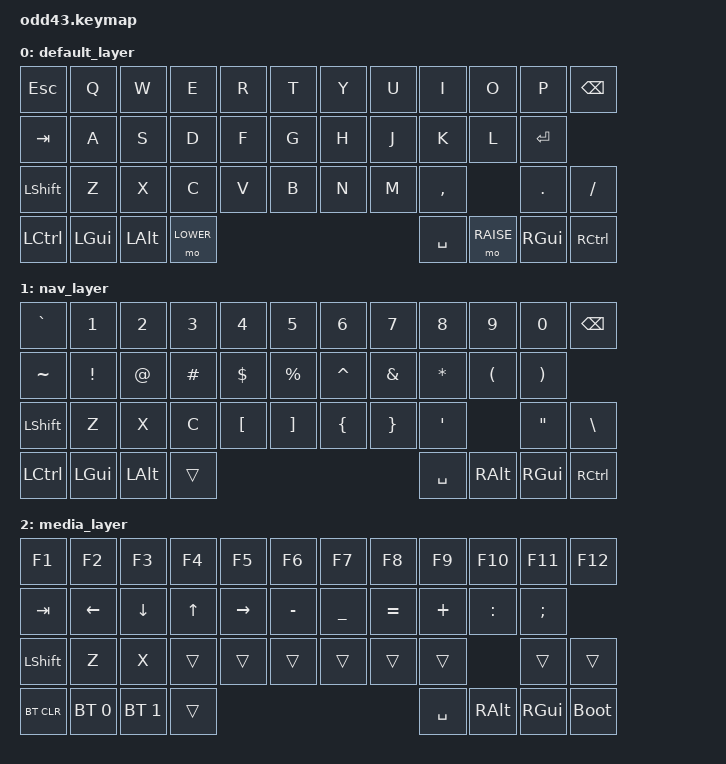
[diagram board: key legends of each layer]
/*
 * Copyright (c) 2020 The ZMK Contributors
 *
 * SPDX-License-Identifier: MIT
 */

#include <behaviors.dtsi>
#include <dt-bindings/zmk/keys.h>
#include <dt-bindings/zmk/bt.h>
#include <dt-bindings/zmk/rgb.h>

#define DEFAULT 0
#define LOWER 1
#define RAISE 2


/ {
    keymap 
	{
    compatible = "zmk,keymap";

    default_layer {
            bindings = <
    &kp ESC &kp Q &kp W &kp E &kp R &kp T &kp Y &kp U &kp I &kp O &kp P &kp BSPC
    &kp TAB &kp A &kp S &kp D &kp F &kp G &kp H &kp J &kp K &kp L &kp RET
    &kp LSHFT &kp Z &kp X &kp C &kp V &kp B &kp N &kp M &kp COMMA &kp DOT &kp FSLH
    &kp LCTL &kp LGUI &kp LALT &mo LOWER &kp SPACE &mo RAISE &kp RGUI &kp RCTL
            >;
        };

    nav_layer {
            bindings = <
    &kp GRAVE &kp N1 &kp N2 &kp N3 &kp N4 &kp N5 &kp N6 &kp N7 &kp N8 &kp N9 &kp N0 &kp BSPC
    &kp TILDE &kp EXCL &kp AT &kp HASH &kp DLLR &kp PRCNT &kp CARET &kp AMPS &kp STAR &kp LPAR &kp RPAR
    &kp LSHFT &kp Z &kp X &kp C  &kp LBKT &kp RBKT &kp LBRC &kp RBRC &kp SQT &kp DQT &kp BSLH
    &kp LCTL &kp LGUI &kp LALT &trans &kp SPACE &kp RALT &kp RGUI &kp RCTL
            >;
        };

        media_layer {
            bindings = <
    &kp F1 &kp F2 &kp F3 &kp F4 &kp F5 &kp F6 &kp F7 &kp F8 &kp F9 &kp F10 &kp F11 &kp F12
    &kp TAB &kp LEFT &kp DOWN &kp UP &kp RIGHT &kp MINUS &kp UNDER &kp EQUAL &kp PLUS &kp COLON &kp SEMI
    &kp LSHFT &kp Z &kp X &trans  &trans &trans &trans &trans &trans &trans &trans
    &bt BT_CLR &bt BT_SEL 0 &bt BT_SEL 1 &trans &kp SPACE &kp RALT &kp RGUI &bootloader
            >;
        };
    };
};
